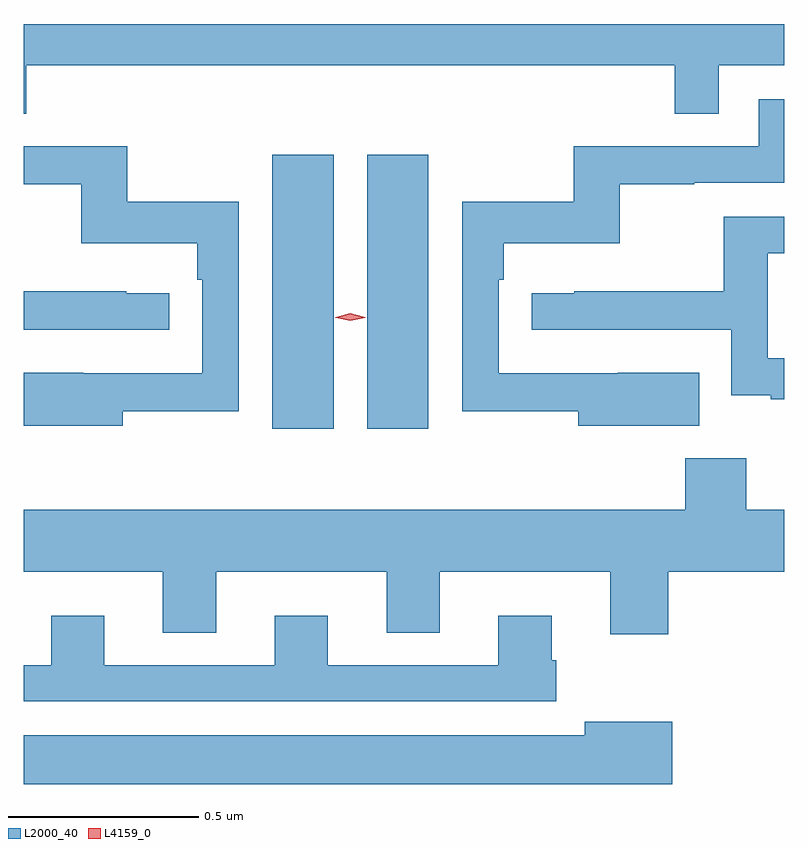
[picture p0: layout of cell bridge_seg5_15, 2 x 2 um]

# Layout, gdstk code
import gdstk
lib = gdstk.Library(unit=1e-6, precision=1e-09)
def R(c, l, rs):  # rectangles x0, y0, x1, y1
    for r in rs: c.add(gdstk.rectangle(r[:2], r[2:], *l))
def P(c, l, *ps):  # polygons
    for p in ps: c.add(gdstk.Polygon(p, *l))
L2000_40 = (2000, 40)
L4159_0 = (4159, 0)

bridge_seg5_15 = lib.new_cell('bridge_seg5_15')
R(bridge_seg5_15, L2000_40, [(974.297,894.432,974.458,895.153), (974.546,894.432,974.707,895.153)])
P(bridge_seg5_15, L2000_40, [(973.649,895.388),(975.355,895.388),(975.355,895.261),(975.471,895.261),(975.471,895.388),(975.643,895.388),(975.643,895.497),(973.643,895.497),(973.643,895.261),(973.649,895.261)],
  [(975.419,894.58),(975.205,894.58),(975.205,894.579),(974.892,894.579),(974.892,894.824),(974.906,894.824),(974.906,894.92),(975.211,894.92),(975.211,895.075),(975.407,895.075),(975.407,895.08),(975.643,895.08),(975.643,895.299),(975.576,895.299),(975.576,895.176),(975.09,895.176),(975.09,895.03),(974.796,895.03),(974.796,894.478),(975.101,894.478),(975.101,894.44),(975.419,894.44)],
  [(973.903,894.478),(974.208,894.478),(974.208,895.03),(973.915,895.03),(973.915,895.176),(973.643,895.176),(973.643,895.075),(973.794,895.075),(973.794,894.92),(974.099,894.92),(974.099,894.824),(974.112,894.824),(974.112,894.579),(973.799,894.579),(973.799,894.58),(973.643,894.58),(973.643,894.44),(973.903,894.44)],
  [(975.643,894.618),(975.6,894.618),(975.6,894.894),(975.643,894.894),(975.643,894.99),(975.484,894.99),(975.484,894.794),(975.091,894.794),(975.091,894.789),(974.979,894.789),(974.979,894.693),(975.504,894.693),(975.504,894.521),(975.607,894.521),(975.607,894.51),(975.643,894.51)],
  [(974.026,894.789),(973.913,894.789),(973.913,894.794),(973.643,894.794),(973.643,894.693),(974.026,894.693)],
  [(975.338,894.056),(975.643,894.056),(975.643,894.22),(975.543,894.22),(975.543,894.355),(975.383,894.355),(975.383,894.22),(973.643,894.22),(973.643,894.056),(974.009,894.056),(974.009,893.896),(974.149,893.896),(974.149,894.056),(974.597,894.056),(974.597,893.896),(974.737,893.896),(974.737,894.056),(975.185,894.056),(975.185,893.892),(975.338,893.892)],
  [(975.044,893.823),(975.031,893.823),(975.031,893.941),(974.891,893.941),(974.891,893.811),(974.443,893.811),(974.443,893.941),(974.303,893.941),(974.303,893.811),(973.855,893.811),(973.855,893.941),(973.715,893.941),(973.715,893.811),(973.643,893.811),(973.643,893.715),(975.044,893.715)],
  [(975.349,893.662),(975.119,893.662),(975.119,893.626),(973.643,893.626),(973.643,893.498),(975.349,893.498)])
P(bridge_seg5_15, L4159_0, [(974.502,894.716),(974.463,894.725),(974.462,894.725),(974.463,894.726),(974.502,894.736),(974.541,894.726),(974.541,894.726),(974.541,894.725)])

lib.write_gds('bridge_seg5_15.gds')
